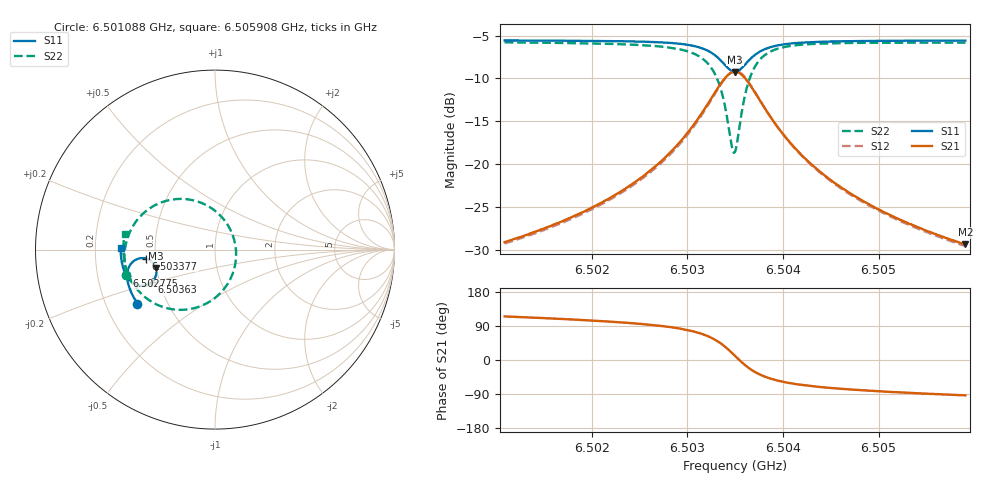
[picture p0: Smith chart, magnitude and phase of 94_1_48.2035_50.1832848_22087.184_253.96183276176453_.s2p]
#  HZ  S  RI  R  50.00
! Rohde & Schwarz Vector Network Analyzer
! Rohde-Schwarz,ZNB20-2Port,1311601062101988,3.16
! Created: UTC 3/20/2024, 11:40:12 AM
! freq[Hz]  re:S11  im:S11  re:S21  im:S21  re:S12  im:S12  re:S22  im:S22
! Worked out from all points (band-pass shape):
!   401 points, 6.501088 GHz to 6.505908 GHz, reference 50 ohm
!   highest |S21| = -9.22 dB at 6.503498 GHz (marker M1); lowest = -29.4 dB at 6.505908 GHz (marker M2)
!   |S21| within 3 dB of the highest: 6.503256 GHz to 6.503738 GHz (482.4 kHz wide, 0.00742 % of centre)
!   lowest |S11| = -9.2 dB at 6.503498 GHz (marker M3), VSWR 2.05, Z = 24.8 - j5.76 ohm
!   |S11| at or under -10 dB: nowhere
!   |S22| runs from -18.7 to -5.8 dB; largest |S21 - S12| = 0.012
!   S11 on the Smith chart (normalised r, x): 6.501088 GHz: 0.34, -0.28; 6.502775 GHz: 0.33, -0.13; 6.503377 GHz: 0.44, -0.05; 6.50363 GHz: 0.45, -0.20; 6.505908 GHz: 0.31, +0.01
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6.5010878e9  -0.4325 -0.3004  -0.0148 0.0317  -0.0131 0.0318  -0.4937 -0.1404
6.5018952e9  -0.4662 -0.2394  -0.0139 0.0501  -0.0115 0.0496  -0.5045 -0.052
6.5023651e9  -0.4821 -0.1965  -0.0103 0.072  -0.00721 0.0707  -0.499 0.0183
6.5027025e9  -0.4892 -0.1574  -0.000845 0.1012  0.00277 0.0985  -0.4779 0.09
6.5027748e9  -0.4897 -0.1475  0.00317 0.1102  0.00685 0.1072  -0.4689 0.1097
6.5029796e9  -0.4856 -0.114  0.0251 0.1446  0.0287 0.14  -0.423 0.1778
6.5031363e9  -0.4704 -0.0816  0.0656 0.1812  0.0684 0.1752  -0.3442 0.242
6.5032808e9  -0.4316 -0.0522  0.1493 0.21  0.15 0.2036  -0.1913 0.2826
6.503329e9  -0.4098 -0.0472  0.1929 0.2084  0.1929 0.2026  -0.115 0.273
6.5033772e9  -0.384 -0.0497  0.2427 0.1924  0.2427 0.1877  -0.0296 0.2371
6.5034616e9  -0.3406 -0.0799  0.3221 0.1155  0.3245 0.1113  0.0971 0.0852
6.5034977e9  -0.3296 -0.1025  0.3396 0.0655  0.3433 0.0601  0.1174 -0.00866
6.5035218e9  -0.3267 -0.1192  0.3429 0.0303  0.3468 0.0233  0.1142 -0.0736
6.503558e9  -0.329 -0.1436  0.335 -0.0207  0.3385 -0.0299  0.0854 -0.1642
6.5036303e9  -0.3517 -0.1814  0.2868 -0.0983  0.2866 -0.11  -0.0282 -0.289
6.5037267e9  -0.3934 -0.2013  0.207 -0.1417  0.2019 -0.1522  -0.1911 -0.3357
6.5038833e9  -0.4433 -0.1939  0.1174 -0.1408  0.11 -0.1464  -0.354 -0.2903
6.5040641e9  -0.4742 -0.1711  0.0662 -0.1179  0.0598 -0.1202  -0.4368 -0.2173
6.5043051e9  -0.4954 -0.1414  0.0351 -0.0921  0.0302 -0.0927  -0.4812 -0.1428
6.5046786e9  -0.5116 -0.1015  0.015 -0.0671  0.0117 -0.0666  -0.5046 -0.0643
6.5051124e9  -0.5207 -0.0607  0.00533 -0.0503  0.003 -0.0495  -0.5108 -0.00061
6.5059076e9  -0.526 0.00738  -0.00197 -0.0339  -0.00341 -0.033  -0.5037 0.0863
